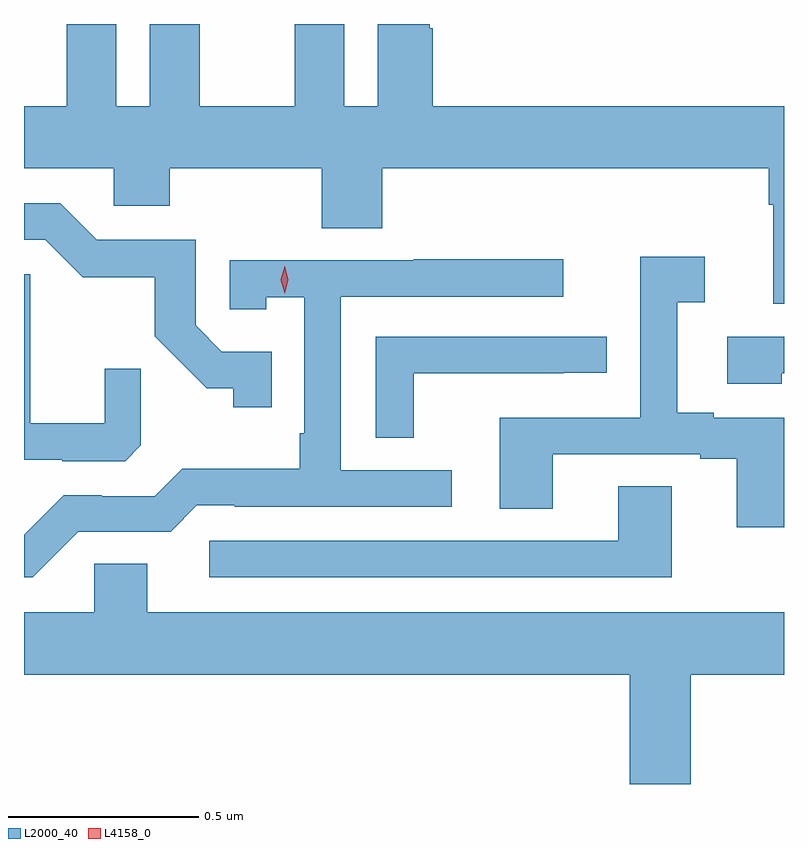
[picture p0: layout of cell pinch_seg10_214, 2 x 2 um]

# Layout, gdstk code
import gdstk
lib = gdstk.Library(unit=1e-6, precision=1e-09)
def P(c, l, *ps):  # polygons
    for p in ps: c.add(gdstk.Polygon(p, *l))
L2000_40 = (2000, 40)
L4158_0 = (4158, 0)

pinch_seg10_214 = lib.new_cell('pinch_seg10_214')
P(pinch_seg10_214, L2000_40, [(775.605,1275.172),(774.68,1275.172),(774.68,1275.377),(774.673,1275.377),(774.673,1275.388),(774.536,1275.388),(774.536,1275.172),(774.448,1275.172),(774.448,1275.388),(774.317,1275.388),(774.317,1275.172),(774.067,1275.172),(774.067,1275.388),(773.936,1275.388),(773.936,1275.172),(773.848,1275.172),(773.848,1275.388),(773.717,1275.388),(773.717,1275.172),(773.605,1275.172),(773.605,1275.008),(773.841,1275.008),(773.841,1274.91),(773.988,1274.91),(773.988,1275.008),(774.388,1275.008),(774.388,1274.851),(774.548,1274.851),(774.548,1275.008),(775.565,1275.008),(775.565,1274.912),(775.577,1274.912),(775.577,1274.652),(775.605,1274.652)],
  [(774.257,1274.526),(774.126,1274.526),(774.057,1274.595),(774.057,1274.82),(773.796,1274.82),(773.7,1274.916),(773.605,1274.916),(773.605,1274.82),(773.661,1274.82),(773.76,1274.722),(773.949,1274.722),(773.949,1274.566),(774.086,1274.429),(774.156,1274.429),(774.156,1274.379),(774.257,1274.379)],
  [(775.605,1274.352),(775.42,1274.352),(775.42,1274.365),(775.324,1274.365),(775.324,1274.656),(775.396,1274.656),(775.396,1274.776),(775.227,1274.776),(775.227,1274.352),(774.857,1274.352),(774.857,1274.113),(774.997,1274.113),(774.997,1274.256),(775.385,1274.256),(775.385,1274.244),(775.481,1274.244),(775.481,1274.064),(775.605,1274.064)],
  [(773.748,1274.052),(773.991,1274.052),(774.06,1274.121),(774.16,1274.121),(774.16,1274.118),(774.73,1274.118),(774.73,1274.214),(774.438,1274.214),(774.438,1274.67),(775.024,1274.67),(775.024,1274.769),(774.631,1274.769),(774.631,1274.766),(774.147,1274.766),(774.147,1274.637),(774.243,1274.637),(774.243,1274.669),(774.342,1274.669),(774.342,1274.311),(774.33,1274.311),(774.33,1274.218),(774.022,1274.218),(773.949,1274.145),(773.81,1274.145),(773.81,1274.148),(773.709,1274.148),(773.605,1274.044),(773.605,1273.932),(773.628,1273.932)],
  [(773.912,1274.279),(773.912,1274.481),(773.818,1274.481),(773.818,1274.338),(773.621,1274.338),(773.621,1274.73),(773.605,1274.73),(773.605,1274.241),(773.706,1274.241),(773.706,1274.238),(773.871,1274.238)],
  [(775.599,1274.469),(775.605,1274.469),(775.605,1274.565),(775.455,1274.565),(775.455,1274.441),(775.599,1274.441)],
  [(774.63,1274.469),(775.025,1274.469),(775.025,1274.47),(775.138,1274.47),(775.138,1274.565),(774.531,1274.565),(774.531,1274.299),(774.63,1274.299)],
  [(775.309,1274.171),(775.169,1274.171),(775.169,1274.028),(774.093,1274.028),(774.093,1273.932),(775.309,1273.932)],
  [(775.359,1273.676),(775.605,1273.676),(775.605,1273.84),(773.929,1273.84),(773.929,1273.967),(773.79,1273.967),(773.79,1273.84),(773.605,1273.84),(773.605,1273.676),(775.199,1273.676),(775.199,1273.388),(775.359,1273.388)])
P(pinch_seg10_214, L4158_0, [(774.291,1274.679),(774.291,1274.679),(774.281,1274.715),(774.291,1274.75),(774.291,1274.751),(774.291,1274.75),(774.301,1274.715),(774.291,1274.679)])

lib.write_gds('pinch_seg10_214.gds')
